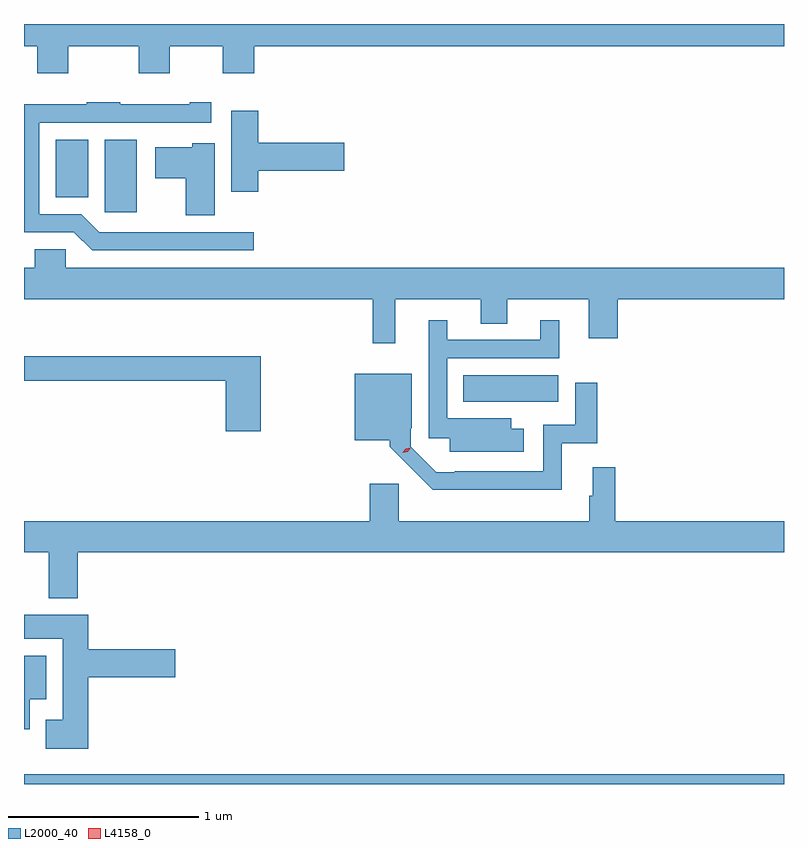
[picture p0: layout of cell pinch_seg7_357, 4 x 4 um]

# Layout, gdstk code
import gdstk
lib = gdstk.Library(unit=1e-6, precision=1e-09)
def R(c, l, rs):  # rectangles x0, y0, x1, y1
    for r in rs: c.add(gdstk.rectangle(r[:2], r[2:], *l))
def P(c, l, *ps):  # polygons
    for p in ps: c.add(gdstk.Polygon(p, *l))
L2000_40 = (2000, 40)
L4158_0 = (4158, 0)

pinch_seg7_357 = lib.new_cell('pinch_seg7_357')
R(pinch_seg7_357, L2000_40, [(493.052,1008.72,497.052,1008.772), (495.364,1010.732,495.865,1010.872), (493.478,1011.729,493.645,1012.111), (493.22,1011.809,493.39,1012.111)])
P(pinch_seg7_357, L2000_40, [(493.285,1012.604),(493.655,1012.604),(493.655,1012.461),(493.819,1012.461),(493.819,1012.604),(494.099,1012.604),(494.099,1012.461),(494.263,1012.461),(494.263,1012.604),(497.052,1012.604),(497.052,1012.72),(493.052,1012.72),(493.052,1012.604),(493.121,1012.604),(493.121,1012.461),(493.285,1012.461)],
  [(494.26,1011.624),(493.449,1011.624),(493.353,1011.72),(493.131,1011.72),(493.131,1012.2),(494.038,1012.2),(494.038,1012.309),(493.925,1012.309),(493.925,1012.297),(493.559,1012.297),(493.559,1012.309),(493.381,1012.309),(493.381,1012.297),(493.052,1012.297),(493.052,1011.624),(493.314,1011.624),(493.41,1011.528),(494.26,1011.528)],
  [(494.285,1011.947),(494.737,1011.947),(494.737,1012.094),(494.285,1012.094),(494.285,1012.264),(494.144,1012.264),(494.144,1011.837),(494.285,1011.837)],
  [(494.056,1012.093),(493.938,1012.093),(493.938,1012.072),(493.743,1012.072),(493.743,1011.908),(493.904,1011.908),(493.904,1011.713),(494.056,1011.713)],
  [(495.005,1011.272),(495.455,1011.272),(495.455,1011.142),(495.595,1011.142),(495.595,1011.272),(496.025,1011.272),(496.025,1011.066),(496.178,1011.066),(496.178,1011.272),(497.052,1011.272),(497.052,1011.436),(493.272,1011.436),(493.272,1011.534),(493.109,1011.534),(493.109,1011.436),(493.052,1011.436),(493.052,1011.272),(494.887,1011.272),(494.887,1011.039),(495.005,1011.039)],
  [(495.682,1010.59),(495.616,1010.59),(495.616,1010.644),(495.279,1010.644),(495.279,1010.961),(495.868,1010.961),(495.868,1011.16),(495.77,1011.16),(495.77,1011.057),(495.28,1011.057),(495.28,1011.16),(495.183,1011.16),(495.183,1010.541),(495.293,1010.541),(495.293,1010.468),(495.682,1010.468)],
  [(494.297,1010.971),(493.052,1010.971),(493.052,1010.842),(494.114,1010.842),(494.114,1010.577),(494.297,1010.577)],
  [(495.883,1010.514),(496.07,1010.514),(496.07,1010.833),(495.954,1010.833),(495.954,1010.61),(495.786,1010.61),(495.786,1010.367),(495.319,1010.367),(495.319,1010.361),(495.222,1010.361),(495.087,1010.496),(495.087,1010.593),(495.093,1010.593),(495.093,1010.878),(494.792,1010.878),(494.792,1010.53),(494.977,1010.53),(494.977,1010.496),(495.203,1010.27),(495.883,1010.27)],
  [(493.334,1009.94),(497.052,1009.94),(497.052,1010.104),(496.163,1010.104),(496.163,1010.386),(496.046,1010.386),(496.046,1010.237),(496.027,1010.237),(496.027,1010.104),(495.025,1010.104),(495.025,1010.299),(494.873,1010.299),(494.873,1010.104),(493.052,1010.104),(493.052,1009.94),(493.181,1009.94),(493.181,1009.697),(493.334,1009.697)],
  [(493.391,1009.283),(493.849,1009.283),(493.849,1009.43),(493.391,1009.43),(493.391,1009.612),(493.052,1009.612),(493.052,1009.484),(493.256,1009.484),(493.256,1009.057),(493.166,1009.057),(493.166,1008.905),(493.391,1008.905)],
  [(493.081,1009.166),(493.168,1009.166),(493.168,1009.396),(493.052,1009.396),(493.052,1009.008),(493.081,1009.008)])
P(pinch_seg7_357, L4158_0, [(495.046,1010.464),(495.046,1010.464),(495.046,1010.465),(495.062,1010.485),(495.087,1010.489),(495.088,1010.489),(495.088,1010.489),(495.072,1010.468)])

lib.write_gds('pinch_seg7_357.gds')
